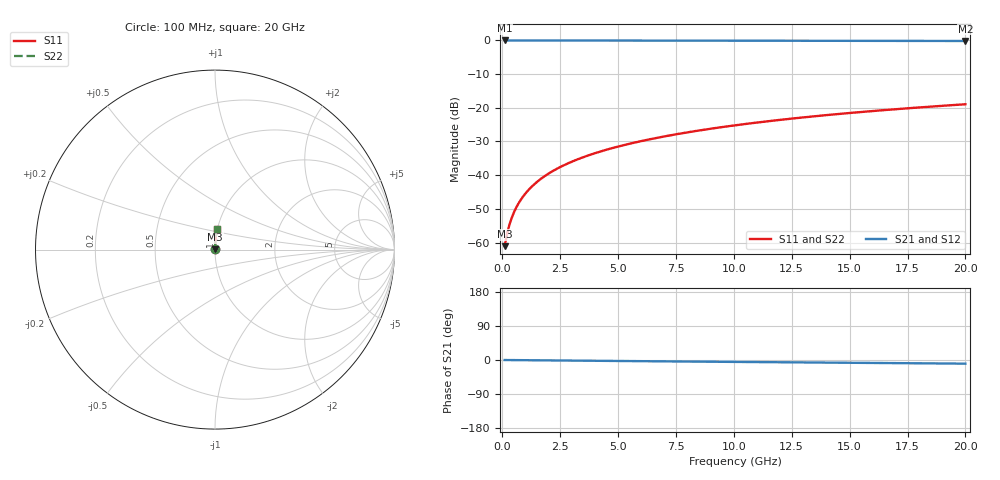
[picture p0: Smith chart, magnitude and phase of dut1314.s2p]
! Touchstone file exported from HFSS 2024.1.0
!  File:  C:/UserFiles/LocalFiles/RDL_TSV_Batchsim/temp_RDL_bottom_1314_1780368705.aedt
!  Generated:  10:54:08 AM Jun  2, 2026
!  Design:  RDL_bottom
!  Project:  temp_RDL_bottom_1314_1780368705
!  Setup:  Setup1
!  Solution:  Sweep
! Variables:
!  dtsv = 10.80580581um
!  hbump = 3um
!  htsv = 50.92um
!  ldown = 117.05um
!  lrdl = 100um
!  p = 40
!  p1 = 40.16um
!  rhole = 1um
!  t = 450um
!  tdown = 4.64um
!  trdl = 3.915915916um
!  wdown = 16.86um
!  wrdl = 20um
# GHz S MA R 50.000000
! Terminal data exported
! Port[1] = RDL1_T1
! Port[2] = RDL1_T2
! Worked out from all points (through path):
!   200 points, 100 MHz to 20 GHz, reference 50 ohm
!   highest |S21| = -0.01 dB at 100 MHz (marker M1); lowest = -0.2 dB at 20 GHz (marker M2)
!   group delay of S21, straight-line fit = 1.33 ps
!   lowest |S11| = -61.1 dB at 100 MHz (marker M3), VSWR 1.00, Z = 50.1 + j0.0565 ohm
!   |S11| at or under -10 dB: start of sweep to end of sweep
!   |S22| runs from -61.1 to -19.0 dB; largest |S21 - S12| = 4e-15
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0.1  0.0008821 39.7  0.9993 -0.1  0.9993 -0.1  0.0008821 39.7
! Gamma 0 0 0 0
! Port Impedance 50 0 50 0
0.2  0.001316 57.6  0.9993 -0.1  0.9993 -0.1  0.001316 57.6
0.3  0.001797 66.0  0.9993 -0.2  0.9993 -0.2  0.001797 66.0
0.4  0.00229 70.9  0.9992 -0.2  0.9992 -0.2  0.00229 70.9
0.5  0.00279 74.1  0.9992 -0.3  0.9992 -0.3  0.00279 74.1
0.6  0.003294 76.4  0.9992 -0.3  0.9992 -0.3  0.003294 76.4
0.8  0.004314 79.5  0.9991 -0.4  0.9991 -0.4  0.004314 79.5
1.1  0.00586 82.2  0.999 -0.6  0.999 -0.6  0.00586 82.2
1.5  0.007939 84.2  0.9989 -0.8  0.9989 -0.8  0.007939 84.2
1.8  0.009507 85.2  0.9988 -1.0  0.9988 -1.0  0.009507 85.2
2.1  0.01108 85.9  0.9986 -1.1  0.9986 -1.1  0.01108 85.9
2.7  0.01424 86.8  0.9982 -1.4  0.9982 -1.4  0.01424 86.8
3.5  0.01848 87.5  0.9977 -1.9  0.9977 -1.9  0.01848 87.5
4.2  0.02223 87.9  0.9971 -2.2  0.9971 -2.2  0.02223 87.9
5  0.02656 88.2  0.9964 -2.6  0.9964 -2.6  0.02656 88.2
5.9  0.03148 88.3  0.9955 -3.1  0.9955 -3.1  0.03148 88.3
6.8  0.03646 88.4  0.9946 -3.5  0.9946 -3.5  0.03646 88.4
8.3  0.0449 88.2  0.9931 -4.2  0.9931 -4.2  0.0449 88.2
10.1  0.0552 87.8  0.9912 -5.1  0.9912 -5.1  0.0552 87.8
13.4  0.07436 86.5  0.9879 -6.6  0.9879 -6.6  0.07436 86.5
16.7  0.09362 84.9  0.9847 -8.1  0.9847 -8.1  0.09362 84.9
20  0.1128 83.2  0.9815 -9.6  0.9815 -9.6  0.1128 83.2
